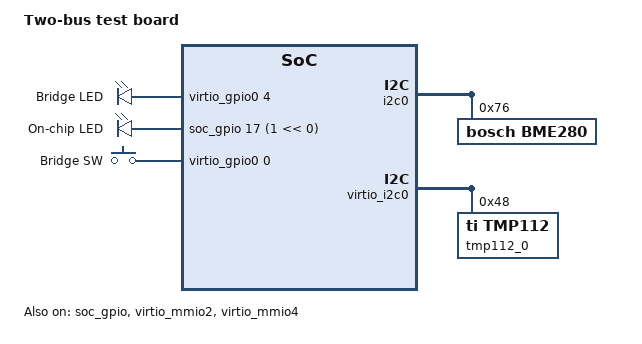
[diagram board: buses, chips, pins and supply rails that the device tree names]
/dts-v1/;

/*
 * Not one of the bundled boards: a hand-written tree with *two* I2C buses —
 * the browser's virtio adapter and a plain on-chip controller — plus two GPIO
 * controllers. Exercises the multi-controller paths in insights: everything is
 * enumerated, but only the nodes the page bridges are marked `bridged`.
 */

/ {
	#address-cells = <1>;
	#size-cells = <1>;
	model = "Two-bus test board";
	compatible = "acme,two-bus";

	soc {
		#address-cells = <1>;
		#size-cells = <1>;
		compatible = "simple-bus";
		ranges;

		i2c0: i2c@40003000 {
			compatible = "acme,on-chip-i2c";
			reg = <0x40003000 0x1000>;
			#address-cells = <1>;
			#size-cells = <0>;
			status = "okay";

			bme280@76 {
				compatible = "bosch,bme280";
				reg = <0x76>;
				status = "okay";
			};
		};

		soc_gpio: gpio@40004000 {
			compatible = "acme,on-chip-gpio";
			reg = <0x40004000 0x1000>;
			gpio-controller;
			#gpio-cells = <2>;
			ngpios = <32>;
			status = "okay";
		};

		virtio_mmio2: virtio_mmio@a000400 {
			compatible = "virtio,mmio";
			reg = <0xa000400 0x200>;
			status = "okay";

			virtio_gpio0: virtio-gpio {
				compatible = "virtio,gpio";
				gpio-controller;
				#gpio-cells = <2>;
				ngpios = <8>;
				status = "okay";
			};
		};

		virtio_mmio4: virtio_mmio@a000800 {
			compatible = "virtio,mmio";
			reg = <0xa000800 0x200>;
			status = "okay";

			virtio_i2c0: virtio-i2c {
				compatible = "virtio,i2c";
				#address-cells = <1>;
				#size-cells = <0>;
				status = "okay";

				tmp112_0: tmp112@48 {
					compatible = "ti,tmp112";
					reg = <0x48>;
					status = "okay";
				};

				/* Disabled chips must not become slots. */
				mcp9808@18 {
					compatible = "microchip,mcp9808";
					reg = <0x18>;
					status = "disabled";
				};
			};
		};
	};

	leds {
		compatible = "gpio-leds";

		/* One LED per controller: only the virtio one feeds the panel. */
		led0: led_0 {
			gpios = <&virtio_gpio0 4 0>;
			label = "Bridge LED";
		};

		led1: led_1 {
			gpios = <&soc_gpio 17 (1 << 0)>;
			label = "On-chip LED";
		};
	};

	keys {
		compatible = "gpio-keys";

		button0: button_0 {
			gpios = <&virtio_gpio0 0 0>;
			label = "Bridge SW";
		};
	};
};
